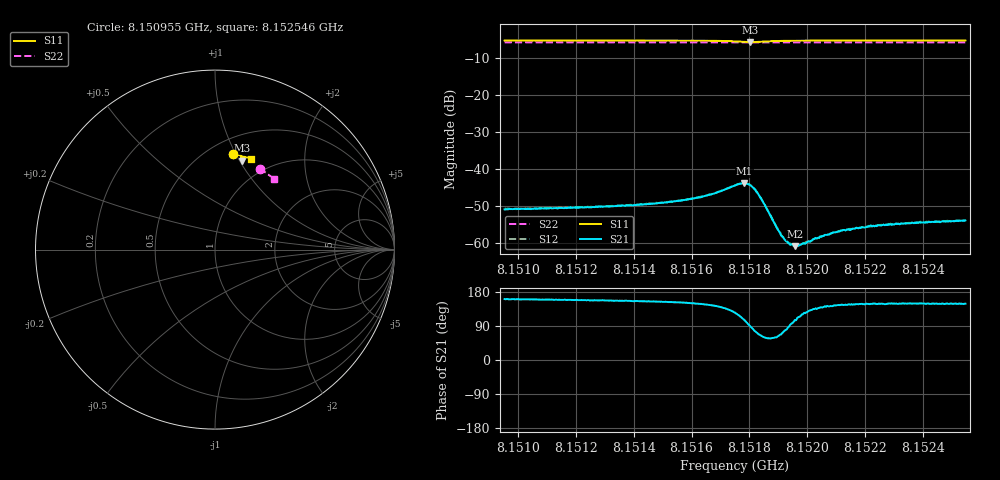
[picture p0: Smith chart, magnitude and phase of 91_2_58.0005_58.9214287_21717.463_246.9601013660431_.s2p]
#  HZ  S  RI  R  50.00
! Rohde & Schwarz Vector Network Analyzer
! Rohde-Schwarz,ZNB20-2Port,1311601062101988,3.16
! Created: UTC 3/21/2024, 12:54:18 AM
! freq[Hz]  re:S11  im:S11  re:S21  im:S21  re:S12  im:S12  re:S22  im:S22
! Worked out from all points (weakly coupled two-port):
!   401 points, 8.150955 GHz to 8.152546 GHz, reference 50 ohm
!   highest |S21| = -43.90 dB at 8.151782 GHz (marker M1); lowest = -60.9 dB at 8.151957 GHz (marker M2)
!   lowest |S11| = -5.7 dB at 8.151802 GHz (marker M3), VSWR 3.14, Z = 37.9 + j51.2 ohm
!   |S11| at or under -10 dB: nowhere
!   |S22| runs from -5.8 to -5.8 dB; largest |S21 - S12| = 0.00016
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8.1509545e9  0.1005 0.5333  -0.00267 0.000927  -0.00271 0.00103  0.2483 0.4502
8.151221e9  0.1196 0.5298  -0.00281 0.00112  -0.0028 0.00117  0.2631 0.4416
8.1513921e9  0.1322 0.5268  -0.00293 0.00132  -0.00294 0.00138  0.2725 0.4356
8.1514875e9  0.1395 0.5248  -0.00311 0.0015  -0.00308 0.00158  0.2775 0.432
8.1516347e9  0.1524 0.5196  -0.00351 0.0022  -0.00354 0.00231  0.2856 0.4266
8.1516904e9  0.1581 0.5151  -0.00379 0.00301  -0.00377 0.00311  0.2885 0.4245
8.15175e9  0.1622 0.5046  -0.00341 0.00489  -0.00336 0.00498  0.2914 0.4218
8.1517819e9  0.1577 0.4965  -0.00173 0.00614  -0.00164 0.00623  0.2928 0.4205
8.1518018e9  0.1505 0.495  6.34e-07 0.00603  8.31e-05 0.00609  0.2934 0.4197
8.1518177e9  0.1452 0.4978  0.00119 0.00518  0.00127 0.00519  0.294 0.4195
8.1518336e9  0.1426 0.5026  0.00167 0.00399  0.00176 0.00399  0.2948 0.4191
8.1519012e9  0.1495 0.5153  0.000634 0.00129  0.000649 0.0013  0.2986 0.417
8.1519171e9  0.1518 0.5162  0.000323 0.00113  0.000346 0.00113  0.2996 0.4165
8.151941e9  0.155 0.517  -5.56e-05 0.000934  -3.63e-05 0.000975  0.3009 0.4155
8.1519569e9  0.1568 0.5172  -0.000238 0.000867  -0.000188 0.000913  0.3017 0.4148
8.1519728e9  0.1587 0.5172  -0.000378 0.000851  -0.000374 0.000854  0.3025 0.4143
8.1520165e9  0.1632 0.517  -0.000731 0.0008  -0.00072 0.000807  0.3048 0.4126
8.1520285e9  0.1644 0.5169  -0.00084 0.000805  -0.000822 0.000824  0.3054 0.412
8.15212e9  0.1724 0.5154  -0.00121 0.00082  -0.00121 0.000853  0.3102 0.4085
8.1522194e9  0.1801 0.5134  -0.00146 0.000898  -0.0014 0.000906  0.3153 0.4043
8.152283e9  0.1848 0.5119  -0.00152 0.000904  -0.0015 0.000963  0.3183 0.4018
8.1525456e9  0.203 0.5057  -0.00171 0.00104  -0.00168 0.00108  0.3312 0.3909
